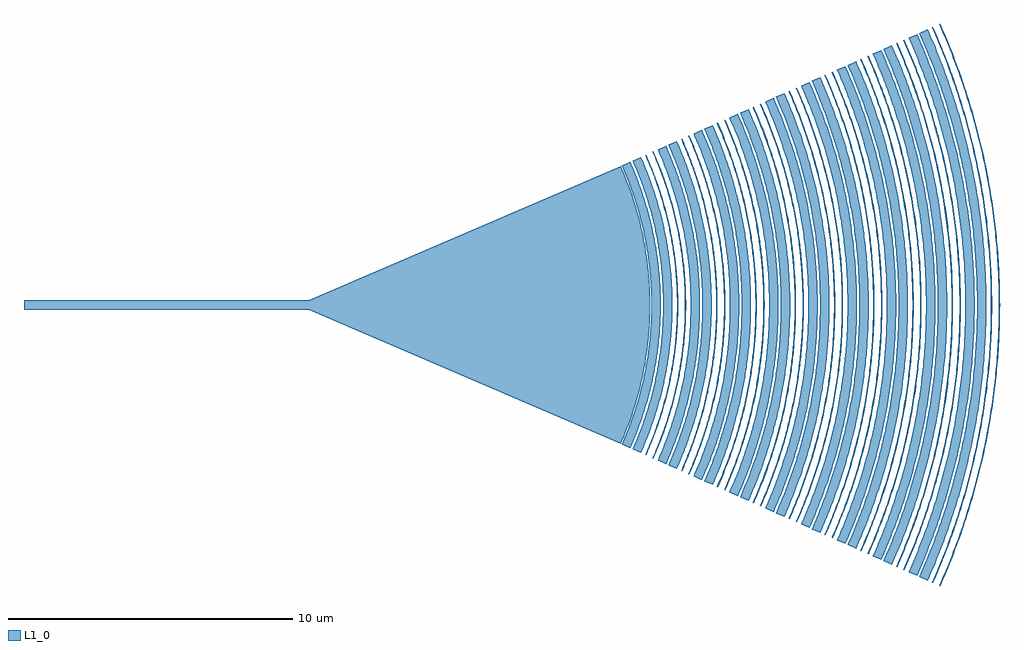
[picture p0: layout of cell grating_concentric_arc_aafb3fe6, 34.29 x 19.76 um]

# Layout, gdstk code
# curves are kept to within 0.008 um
import gdstk
lib = gdstk.Library(unit=1e-6, precision=2e-09)
def R(c, l, rs):  # rectangles x0, y0, x1, y1
    for r in rs: c.add(gdstk.rectangle(r[:2], r[2:], *l))
def P(c, l, *ps):  # polygons
    for p in ps: c.add(gdstk.Polygon(p, *l))
L1_0 = (1, 0)

straight_3aa2beef = lib.new_cell('straight_3aa2beef')
R(straight_3aa2beef, L1_0, [(0,-0.174,10,0.174)])

ring_470cada0_transform_ = lib.new_cell('ring_470cada0_transform_d14879e8')
P(ring_470cada0_transform_, L1_0, [(11.002,-4.898),(11.218,-4.382),(11.388,-3.922),(11.578,-3.32),(11.736,-2.71),(11.836,-2.23),(11.946,-1.538),(12.01,-0.91),(12.034,-0.49),(12.044,0.14),(12.01,0.91),(11.946,1.538),(11.81,2.366),(11.652,3.05),(11.476,3.656),(11.294,4.186),(11.002,4.898),(11.3,5.03),(11.574,4.366),(11.808,3.686),(12.002,2.992),(12.156,2.29),(12.268,1.578),(12.334,0.934),(12.368,0.216),(12.362,-0.432),(12.302,-1.292),(12.182,-2.148),(12.002,-2.992),(11.808,-3.686),(11.574,-4.366),(11.3,-5.03)])

ring_4765fa46_transform_ = lib.new_cell('ring_4765fa46_transform_a51c3178')
P(ring_4765fa46_transform_, L1_0, [(11.38,-5.066),(11.604,-4.532),(11.848,-3.85),(12.014,-3.294),(12.138,-2.802),(12.268,-2.164),(12.346,-1.662),(12.41,-1.086),(12.45,-0.434),(12.454,0.29),(12.422,0.942),(12.346,1.662),(12.242,2.306),(12.104,2.944),(11.892,3.712),(11.656,4.396),(11.38,5.066),(11.676,5.198),(11.96,4.512),(12.18,3.88),(12.366,3.236),(12.548,2.438),(12.678,1.632),(12.746,0.966),(12.78,0.224),(12.772,-0.52),(12.746,-0.966),(12.696,-1.484),(12.588,-2.22),(12.438,-2.948),(12.224,-3.738),(11.96,-4.512),(11.676,-5.198)])

ring_a5a4bc91_transform_ = lib.new_cell('ring_a5a4bc91_transform_08cd258c')
P(ring_a5a4bc91_transform_, L1_0, [(11.824,-5.264),(12.058,-4.708),(12.164,-4.428),(12.334,-3.928),(12.464,-3.496),(12.542,-3.204),(12.662,-2.692),(12.748,-2.248),(12.808,-1.876),(12.874,-1.354),(12.918,-0.828),(12.934,-0.526),(12.944,-0.15),(12.944,0.15),(12.934,0.526),(12.902,1.054),(12.874,1.354),(12.808,1.876),(12.748,2.248),(12.692,2.544),(12.596,2.986),(12.422,3.64),(12.264,4.142),(12.164,4.428),(12.002,4.848),(11.824,5.264),(11.862,5.282),(11.982,5.004),(12.122,4.654),(12.252,4.298),(12.372,3.94),(12.542,3.36),(12.652,2.92),(12.716,2.626),(12.774,2.328),(12.836,1.956),(12.888,1.582),(12.928,1.206),(12.958,0.83),(12.974,0.528),(12.984,0.152),(12.984,-0.152),(12.974,-0.528),(12.958,-0.83),(12.928,-1.206),(12.888,-1.582),(12.836,-1.956),(12.774,-2.328),(12.652,-2.92),(12.542,-3.36),(12.46,-3.652),(12.372,-3.94),(12.252,-4.298),(12.122,-4.654),(11.982,-5.004),(11.862,-5.282)])

ring_92b7a5c3_transform_ = lib.new_cell('ring_92b7a5c3_transform_87d6f1c0')
P(ring_92b7a5c3_transform_, L1_0, [(12.078,-5.378),(12.2,-5.094),(12.37,-4.666),(12.574,-4.086),(12.73,-3.57),(12.828,-3.198),(12.916,-2.824),(12.978,-2.522),(13.046,-2.144),(13.092,-1.84),(13.14,-1.458),(13.194,-0.846),(13.21,-0.538),(13.22,-0.154),(13.22,0.154),(13.21,0.538),(13.194,0.846),(13.164,1.228),(13.122,1.612),(13.07,1.992),(13.02,2.296),(12.948,2.674),(12.882,2.974),(12.79,3.348),(12.62,3.938),(12.45,4.45),(12.37,4.666),(12.2,5.094),(12.078,5.378),(12.114,5.394),(12.266,5.038),(12.408,4.68),(12.612,4.098),(12.726,3.73),(12.848,3.282),(12.938,2.908),(13.002,2.606),(13.098,2.074),(13.162,1.616),(13.196,1.31),(13.234,0.848),(13.25,0.54),(13.26,0.154),(13.26,-0.154),(13.25,-0.54),(13.234,-0.848),(13.196,-1.31),(13.162,-1.616),(13.098,-2.074),(13.046,-2.378),(12.938,-2.908),(12.848,-3.282),(12.726,-3.73),(12.538,-4.318),(12.324,-4.896),(12.146,-5.322),(12.114,-5.394)])

ring_aff80b13_transform_ = lib.new_cell('ring_aff80b13_transform_def36365')
P(ring_aff80b13_transform_, L1_0, [(12.262,-5.46),(12.474,-4.956),(12.742,-4.222),(12.966,-3.474),(13.096,-2.944),(13.176,-2.562),(13.292,-1.868),(13.372,-1.17),(13.412,-0.546),(13.422,0.156),(13.39,0.936),(13.292,1.868),(13.176,2.562),(12.986,3.398),(12.79,4.074),(12.558,4.738),(12.262,5.46),(12.56,5.592),(12.806,5.002),(13.1,4.172),(13.32,3.404),(13.48,2.702),(13.614,1.914),(13.696,1.198),(13.74,0.48),(13.74,-0.48),(13.696,-1.198),(13.646,-1.676),(13.566,-2.23),(13.396,-3.092),(13.216,-3.79),(12.946,-4.626),(12.806,-5.002),(12.56,-5.592)])

ring_44e4fcd2_transform_ = lib.new_cell('ring_44e4fcd2_transform_00812115')
P(ring_44e4fcd2_transform_, L1_0, [(12.64,-5.628),(12.888,-5.034),(13.134,-4.352),(13.322,-3.736),(13.516,-2.956),(13.626,-2.402),(13.742,-1.606),(13.802,-0.966),(13.83,-0.402),(13.83,0.402),(13.79,1.126),(13.712,1.846),(13.582,2.64),(13.424,3.348),(13.208,4.122),(12.974,4.808),(12.64,5.628),(12.936,5.76),(13.25,4.998),(13.518,4.218),(13.76,3.346),(13.916,2.622),(14.034,1.89),(14.114,1.152),(14.146,0.658),(14.16,0.164),(14.152,-0.494),(14.092,-1.398),(14.034,-1.89),(13.96,-2.378),(13.798,-3.186),(13.566,-4.062),(13.416,-4.532),(13.25,-4.998),(12.936,-5.76)])

ring_d8adb204_transform_ = lib.new_cell('ring_d8adb204_transform_c9774ad4')
P(ring_d8adb204_transform_, L1_0, [(13.084,-5.826),(13.342,-5.21),(13.488,-4.82),(13.596,-4.506),(13.768,-3.948),(13.856,-3.626),(14.01,-2.978),(14.12,-2.404),(14.184,-1.994),(14.236,-1.58),(14.294,-0.916),(14.314,-0.5),(14.322,-0.166),(14.322,0.166),(14.314,0.5),(14.276,1.166),(14.236,1.58),(14.184,1.994),(14.12,2.404),(14.044,2.814),(13.898,3.464),(13.768,3.948),(13.672,4.268),(13.57,4.584),(13.372,5.132),(13.28,5.366),(13.084,5.826),(13.12,5.842),(13.286,5.458),(13.408,5.148),(13.58,4.676),(13.686,4.358),(13.874,3.718),(13.976,3.312),(14.066,2.904),(14.13,2.576),(14.186,2.246),(14.246,1.834),(14.284,1.502),(14.334,0.918),(14.354,0.502),(14.362,0.168),(14.362,-0.168),(14.354,-0.502),(14.334,-0.918),(14.308,-1.252),(14.266,-1.668),(14.172,-2.33),(14.13,-2.576),(14.032,-3.068),(13.956,-3.394),(13.852,-3.798),(13.76,-4.12),(13.608,-4.596),(13.468,-4.99),(13.254,-5.534),(13.12,-5.842)])

ring_2e914d8e_transform_ = lib.new_cell('ring_2e914d8e_transform_935ca3b8')
P(ring_2e914d8e_transform_, L1_0, [(13.336,-5.938),(13.472,-5.626),(13.63,-5.232),(13.748,-4.914),(13.858,-4.592),(13.962,-4.268),(14.08,-3.86),(14.166,-3.532),(14.244,-3.202),(14.378,-2.536),(14.48,-1.864),(14.51,-1.61),(14.544,-1.272),(14.57,-0.934),(14.584,-0.68),(14.598,-0.17),(14.598,0.17),(14.584,0.68),(14.558,1.104),(14.528,1.442),(14.48,1.864),(14.42,2.284),(14.298,2.952),(14.166,3.532),(14.08,3.86),(13.962,4.268),(13.804,4.752),(13.69,5.072),(13.504,5.548),(13.336,5.938),(13.374,5.954),(13.476,5.72),(13.636,5.326),(13.786,4.926),(13.896,4.604),(14,4.28),(14.096,3.954),(14.184,3.624),(14.32,3.044),(14.446,2.374),(14.52,1.868),(14.568,1.446),(14.598,1.106),(14.624,0.682),(14.638,0.17),(14.638,-0.17),(14.624,-0.682),(14.604,-1.022),(14.55,-1.614),(14.52,-1.868),(14.446,-2.374),(14.37,-2.794),(14.302,-3.126),(14.184,-3.624),(14.096,-3.954),(14,-4.28),(13.842,-4.766),(13.636,-5.326),(13.476,-5.72),(13.374,-5.954)])

ring_7ea0d12c_transform_ = lib.new_cell('ring_7ea0d12c_transform_b127f23c')
P(ring_7ea0d12c_transform_, L1_0, [(13.522,-6.02),(13.818,-5.304),(14.05,-4.656),(14.252,-3.996),(14.46,-3.162),(14.606,-2.4),(14.68,-1.89),(14.752,-1.204),(14.798,-0.344),(14.798,0.344),(14.752,1.204),(14.72,1.548),(14.632,2.23),(14.496,2.994),(14.382,3.498),(14.252,3.996),(14.05,4.656),(13.818,5.304),(13.522,6.02),(13.818,6.152),(13.992,5.748),(14.184,5.256),(14.44,4.506),(14.656,3.744),(14.832,2.972),(14.954,2.28),(15.014,1.844),(15.076,1.23),(15.12,0.44),(15.12,-0.44),(15.076,-1.23),(15.014,-1.844),(14.954,-2.28),(14.778,-3.23),(14.634,-3.83),(14.516,-4.254),(14.386,-4.674),(14.184,-5.256),(13.992,-5.748),(13.818,-6.152)])

ring_5f7458fa_transform_ = lib.new_cell('ring_5f7458fa_transform_2b5a78b5')
P(ring_5f7458fa_transform_, L1_0, [(13.898,-6.188),(14.204,-5.452),(14.47,-4.702),(14.696,-3.938),(14.844,-3.336),(14.968,-2.728),(15.09,-1.942),(15.164,-1.238),(15.208,-0.442),(15.208,0.442),(15.164,1.238),(15.112,1.766),(15.054,2.204),(14.918,2.99),(14.696,3.938),(14.47,4.702),(14.204,5.452),(13.898,6.188),(14.196,6.32),(14.54,5.484),(14.834,4.63),(15.078,3.76),(15.254,2.964),(15.388,2.162),(15.488,1.264),(15.53,0.542),(15.54,0),(15.53,-0.542),(15.508,-0.994),(15.464,-1.534),(15.334,-2.52),(15.18,-3.32),(15.078,-3.76),(14.938,-4.284),(14.722,-4.974),(14.602,-5.314),(14.442,-5.738),(14.196,-6.32)])

ring_c25abaea_transform_ = lib.new_cell('ring_c25abaea_transform_a975f9f6')
P(ring_c25abaea_transform_, L1_0, [(14.344,-6.386),(14.626,-5.712),(14.876,-5.026),(15.016,-4.59),(15.118,-4.24),(15.256,-3.71),(15.358,-3.264),(15.43,-2.906),(15.494,-2.546),(15.536,-2.276),(15.616,-1.642),(15.65,-1.278),(15.68,-0.822),(15.692,-0.548),(15.702,0),(15.692,0.548),(15.68,0.822),(15.65,1.278),(15.616,1.642),(15.536,2.276),(15.494,2.546),(15.43,2.906),(15.358,3.264),(15.19,3.976),(15.016,4.59),(14.876,5.026),(14.69,5.542),(14.524,5.966),(14.344,6.386),(14.38,6.402),(14.526,6.066),(14.696,5.642),(14.854,5.212),(14.942,4.952),(15.054,4.602),(15.228,3.986),(15.296,3.72),(15.398,3.272),(15.47,2.914),(15.548,2.462),(15.646,1.736),(15.682,1.372),(15.72,0.824),(15.732,0.55),(15.742,0),(15.732,-0.55),(15.72,-0.824),(15.682,-1.372),(15.646,-1.736),(15.548,-2.462),(15.47,-2.914),(15.398,-3.272),(15.296,-3.72),(15.132,-4.338),(15.054,-4.602),(14.914,-5.038),(14.696,-5.642),(14.526,-6.066),(14.38,-6.402)])

ring_84f71b20_transform_ = lib.new_cell('ring_84f71b20_transform_91da354d')
P(ring_84f71b20_transform_, L1_0, [(14.596,-6.498),(14.78,-6.072),(14.95,-5.638),(15.108,-5.202),(15.196,-4.938),(15.28,-4.672),(15.434,-4.136),(15.526,-3.776),(15.648,-3.23),(15.702,-2.958),(15.796,-2.408),(15.87,-1.854),(15.9,-1.578),(15.932,-1.208),(15.956,-0.836),(15.974,-0.372),(15.978,-0.092),(15.974,0.372),(15.956,0.836),(15.932,1.208),(15.9,1.578),(15.87,1.854),(15.796,2.408),(15.702,2.958),(15.648,3.23),(15.526,3.776),(15.434,4.136),(15.28,4.672),(15.108,5.202),(14.95,5.638),(14.78,6.072),(14.596,6.498),(14.632,6.514),(14.852,6),(14.954,5.74),(15.084,5.39),(15.234,4.95),(15.372,4.504),(15.448,4.236),(15.608,3.604),(15.668,3.33),(15.724,3.056),(15.806,2.598),(15.862,2.23),(15.94,1.582),(15.996,0.838),(16.014,0.372),(16.018,-0.094),(16.014,-0.372),(15.996,-0.838),(15.972,-1.21),(15.91,-1.86),(15.862,-2.23),(15.806,-2.598),(15.706,-3.148),(15.608,-3.604),(15.496,-4.056),(15.398,-4.416),(15.234,-4.95),(15.084,-5.39),(14.92,-5.828),(14.708,-6.344),(14.632,-6.514)])

ring_bd555baa_transform_ = lib.new_cell('ring_bd555baa_transform_c54242bc')
P(ring_bd555baa_transform_, L1_0, [(14.78,-6.58),(14.93,-6.236),(15.172,-5.622),(15.388,-5),(15.604,-4.278),(15.786,-3.548),(15.934,-2.81),(16.06,-1.972),(16.134,-1.222),(16.176,-0.376),(16.17,0.564),(16.11,1.504),(16.022,2.252),(15.934,2.81),(15.846,3.272),(15.628,4.188),(15.388,5),(15.172,5.622),(14.93,6.236),(14.78,6.58),(15.078,6.714),(15.476,5.736),(15.756,4.918),(15.918,4.364),(16.038,3.9),(16.202,3.15),(16.358,2.202),(16.458,1.248),(16.498,0.48),(16.498,-0.48),(16.434,-1.534),(16.382,-2.012),(16.302,-2.582),(16.202,-3.15),(16.104,-3.62),(15.866,-4.55),(15.668,-5.192),(15.51,-5.644),(15.338,-6.094),(15.078,-6.714)])

ring_5217f0bf_transform_ = lib.new_cell('ring_5217f0bf_transform_5defcd2e')
P(ring_5217f0bf_transform_, L1_0, [(15.158,-6.748),(15.456,-6.036),(15.72,-5.31),(15.95,-4.574),(16.168,-3.732),(16.324,-2.976),(16.444,-2.214),(16.546,-1.254),(16.586,-0.482),(16.586,0.482),(16.546,1.254),(16.444,2.214),(16.288,3.166),(16.168,3.732),(16.052,4.202),(15.81,5.036),(15.456,6.036),(15.158,6.748),(15.456,6.882),(15.686,6.338),(15.864,5.878),(16.15,5.04),(16.416,4.092),(16.588,3.324),(16.724,2.55),(16.804,1.964),(16.854,1.474),(16.908,0.59),(16.914,-0.394),(16.854,-1.474),(16.78,-2.16),(16.71,-2.646),(16.528,-3.614),(16.316,-4.474),(16.15,-5.04),(15.898,-5.786),(15.686,-6.338),(15.456,-6.882)])

ring_3e654e33_transform_ = lib.new_cell('ring_3e654e33_transform_05bb91c2')
P(ring_3e654e33_transform_, L1_0, [(15.604,-6.946),(15.91,-6.214),(16.084,-5.748),(16.244,-5.278),(16.446,-4.612),(16.596,-4.036),(16.686,-3.648),(16.838,-2.868),(16.914,-2.378),(16.976,-1.884),(17.024,-1.39),(17.062,-0.794),(17.08,-0.1),(17.076,0.398),(17.062,0.794),(17.038,1.192),(17.006,1.588),(16.976,1.884),(16.9,2.476),(16.838,2.868),(16.766,3.258),(16.686,3.648),(16.596,4.036),(16.446,4.612),(16.334,4.994),(16.182,5.466),(16.016,5.934),(15.836,6.398),(15.604,6.946),(15.64,6.964),(15.798,6.598),(15.982,6.136),(16.122,5.762),(16.282,5.29),(16.372,5.006),(16.51,4.528),(16.612,4.142),(16.746,3.56),(16.806,3.266),(16.894,2.776),(16.954,2.382),(17.016,1.888),(17.078,1.194),(17.102,0.796),(17.116,0.398),(17.12,-0.1),(17.102,-0.796),(17.078,-1.194),(17.016,-1.888),(16.954,-2.382),(16.894,-2.776),(16.806,-3.266),(16.704,-3.754),(16.612,-4.142),(16.484,-4.624),(16.372,-5.006),(16.22,-5.48),(16.018,-6.042),(15.798,-6.598),(15.64,-6.964)])

ring_5456c50c_transform_ = lib.new_cell('ring_5456c50c_transform_71f964e6')
P(ring_5456c50c_transform_, L1_0, [(15.856,-7.06),(16.016,-6.688),(16.204,-6.22),(16.344,-5.842),(16.476,-5.46),(16.598,-5.074),(16.712,-4.686),(16.816,-4.296),(16.956,-3.708),(17.038,-3.312),(17.142,-2.716),(17.188,-2.416),(17.262,-1.814),(17.314,-1.21),(17.338,-0.808),(17.356,-0.1),(17.352,0.404),(17.338,0.808),(17.314,1.21),(17.272,1.714),(17.214,2.216),(17.158,2.616),(17.11,2.914),(16.998,3.51),(16.912,3.904),(16.816,4.296),(16.684,4.784),(16.538,5.268),(16.444,5.556),(16.24,6.126),(16.054,6.596),(15.856,7.06),(15.892,7.076),(16.014,6.798),(16.168,6.422),(16.348,5.95),(16.514,5.472),(16.666,4.99),(16.804,4.502),(16.928,4.012),(17.016,3.616),(17.096,3.22),(17.198,2.622),(17.254,2.22),(17.312,1.718),(17.354,1.214),(17.378,0.81),(17.394,0.304),(17.396,-0.102),(17.378,-0.81),(17.338,-1.416),(17.29,-1.92),(17.226,-2.422),(17.15,-2.922),(17.096,-3.22),(16.994,-3.716),(16.88,-4.208),(16.75,-4.698),(16.666,-4.99),(16.482,-5.568),(16.276,-6.14),(16.014,-6.798),(15.892,-7.076)])

ring_ea817882_transform_ = lib.new_cell('ring_ea817882_transform_41878c8b')
P(ring_ea817882_transform_, L1_0, [(16.04,-7.142),(16.356,-6.388),(16.602,-5.716),(16.85,-4.938),(17.108,-3.95),(17.274,-3.15),(17.428,-2.14),(17.516,-1.224),(17.554,-0.408),(17.548,0.612),(17.492,1.53),(17.388,2.444),(17.292,3.048),(17.196,3.55),(16.986,4.446),(16.73,5.328),(16.534,5.91),(16.356,6.388),(16.04,7.142),(16.338,7.274),(16.696,6.408),(17.04,5.428),(17.274,4.628),(17.402,4.124),(17.514,3.616),(17.68,2.694),(17.738,2.282),(17.816,1.558),(17.854,1.04),(17.876,0.52),(17.876,-0.52),(17.854,-1.04),(17.816,-1.558),(17.738,-2.282),(17.68,-2.694),(17.594,-3.208),(17.448,-3.922),(17.218,-4.83),(17.072,-5.328),(16.84,-6.018),(16.582,-6.7),(16.338,-7.274)])

ring_7313c4e4_transform_ = lib.new_cell('ring_7313c4e4_transform_d605e5fc')
P(ring_7313c4e4_transform_, L1_0, [(16.418,-7.31),(16.778,-6.44),(17.092,-5.554),(17.332,-4.752),(17.534,-3.94),(17.716,-3.018),(17.838,-2.19),(17.928,-1.254),(17.964,-0.522),(17.964,0.522),(17.928,1.254),(17.894,1.67),(17.782,2.604),(17.6,3.634),(17.386,4.55),(17.092,5.554),(16.778,6.44),(16.418,7.31),(16.714,7.442),(16.884,7.05),(17.118,6.458),(17.434,5.552),(17.7,4.632),(17.804,4.22),(17.94,3.596),(18.104,2.652),(18.16,2.23),(18.236,1.488),(18.286,0.638),(18.292,-0.426),(18.272,-0.958),(18.236,-1.488),(18.16,-2.23),(18.104,-2.652),(17.94,-3.596),(17.804,-4.22),(17.672,-4.736),(17.466,-5.45),(17.264,-6.058),(17.004,-6.756),(16.714,-7.442)])

ring_cde9bd4d_transform_ = lib.new_cell('ring_cde9bd4d_transform_01ae3e1e')
P(ring_cde9bd4d_transform_, L1_0, [(16.862,-7.508),(17.074,-7.014),(17.194,-6.714),(17.346,-6.314),(17.522,-5.806),(17.652,-5.396),(17.802,-4.88),(17.884,-4.57),(18.01,-4.048),(18.12,-3.522),(18.178,-3.206),(18.264,-2.676),(18.334,-2.142),(18.398,-1.502),(18.428,-1.074),(18.448,-0.644),(18.458,-0.214),(18.458,0.214),(18.448,0.644),(18.428,1.074),(18.398,1.502),(18.358,1.93),(18.294,2.462),(18.232,2.888),(18.12,3.522),(18.01,4.048),(17.936,4.362),(17.802,4.88),(17.652,5.396),(17.522,5.806),(17.346,6.314),(17.074,7.014),(16.862,7.508),(16.9,7.524),(17.152,6.93),(17.27,6.63),(17.456,6.124),(17.626,5.614),(17.722,5.306),(17.896,4.684),(18,4.266),(18.138,3.636),(18.218,3.212),(18.288,2.788),(18.374,2.148),(18.418,1.72),(18.454,1.29),(18.488,0.646),(18.498,0.216),(18.498,-0.216),(18.488,-0.646),(18.454,-1.29),(18.418,-1.72),(18.374,-2.148),(18.288,-2.788),(18.254,-3),(18.138,-3.636),(18.072,-3.952),(17.948,-4.476),(17.812,-4.996),(17.722,-5.306),(17.526,-5.92),(17.42,-6.226),(17.27,-6.63),(17.07,-7.128),(16.9,-7.524)])

ring_4b817f02_transform_ = lib.new_cell('ring_4b817f02_transform_23eca238')
P(ring_4b817f02_transform_, L1_0, [(17.114,-7.62),(17.33,-7.12),(17.53,-6.612),(17.714,-6.1),(17.852,-5.686),(17.948,-5.374),(18.124,-4.744),(18.23,-4.32),(18.326,-3.896),(18.45,-3.254),(18.52,-2.824),(18.596,-2.284),(18.644,-1.85),(18.69,-1.306),(18.72,-0.762),(18.734,-0.218),(18.734,0.218),(18.72,0.762),(18.69,1.306),(18.644,1.85),(18.596,2.284),(18.52,2.824),(18.45,3.254),(18.37,3.682),(18.23,4.32),(18.152,4.638),(18.038,5.06),(17.852,5.686),(17.714,6.1),(17.53,6.612),(17.33,7.12),(17.114,7.62),(17.152,7.636),(17.408,7.034),(17.528,6.728),(17.716,6.216),(17.89,5.698),(18.048,5.176),(18.134,4.86),(18.244,4.436),(18.364,3.904),(18.45,3.476),(18.544,2.938),(18.622,2.396),(18.694,1.746),(18.722,1.418),(18.76,0.764),(18.774,0.218),(18.774,-0.218),(18.76,-0.764),(18.736,-1.2),(18.704,-1.636),(18.648,-2.18),(18.544,-2.938),(18.45,-3.476),(18.342,-4.01),(18.218,-4.542),(18.078,-5.07),(17.89,-5.698),(17.788,-6.01),(17.528,-6.728),(17.324,-7.236),(17.152,-7.636)])

ring_83ac2efb_transform_ = lib.new_cell('ring_83ac2efb_transform_be58b5be')
P(ring_83ac2efb_transform_, L1_0, [(17.3,-7.702),(17.64,-6.89),(17.906,-6.166),(18.204,-5.22),(18.452,-4.26),(18.65,-3.288),(18.796,-2.308),(18.898,-1.212),(18.932,-0.44),(18.932,0.44),(18.898,1.212),(18.834,1.98),(18.704,2.962),(18.61,3.506),(18.452,4.26),(18.292,4.902),(18.142,5.432),(17.906,6.166),(17.718,6.684),(17.3,7.702),(17.596,7.834),(17.818,7.32),(18.062,6.694),(18.388,5.738),(18.69,4.66),(18.794,4.224),(18.93,3.566),(19.09,2.57),(19.198,1.568),(19.254,0.56),(19.254,-0.56),(19.23,-1.12),(19.168,-1.902),(19.042,-2.902),(18.95,-3.456),(18.842,-4.004),(18.606,-4.986),(18.388,-5.738),(18.176,-6.376),(17.902,-7.112),(17.596,-7.834)])

ring_fe3af841_transform_ = lib.new_cell('ring_fe3af841_transform_4dafe869')
P(ring_fe3af841_transform_, L1_0, [(17.676,-7.87),(18.024,-7.04),(18.368,-6.086),(18.504,-5.658),(18.72,-4.9),(18.904,-4.134),(19.094,-3.138),(19.206,-2.358),(19.286,-1.574),(19.342,-0.562),(19.348,0.226),(19.31,1.238),(19.232,2.134),(19.112,3.026),(19.016,3.582),(18.854,4.352),(18.72,4.9),(18.504,5.658),(18.332,6.194),(18.144,6.724),(17.856,7.456),(17.676,7.87),(17.974,8.002),(18.368,7.05),(18.566,6.514),(18.782,5.862),(19.034,4.982),(19.292,3.866),(19.396,3.304),(19.484,2.738),(19.61,1.6),(19.654,0.916),(19.67,0.458),(19.67,-0.458),(19.654,-0.916),(19.61,-1.6),(19.542,-2.284),(19.468,-2.852),(19.292,-3.866),(19.034,-4.982),(18.816,-5.752),(18.566,-6.514),(18.242,-7.37),(17.974,-8.002)])

ring_c006a4c7_transform_ = lib.new_cell('ring_c006a4c7_transform_c0675b6b')
P(ring_c006a4c7_transform_, L1_0, [(18.122,-8.068),(18.436,-7.324),(18.68,-6.676),(18.794,-6.35),(19.004,-5.69),(19.1,-5.356),(19.22,-4.91),(19.38,-4.238),(19.472,-3.786),(19.556,-3.33),(19.66,-2.646),(19.716,-2.188),(19.772,-1.614),(19.804,-1.154),(19.832,-0.462),(19.836,-0.23),(19.832,0.462),(19.816,0.922),(19.772,1.614),(19.74,1.958),(19.688,2.418),(19.628,2.874),(19.516,3.558),(19.428,4.012),(19.38,4.238),(19.22,4.91),(19.068,5.468),(18.902,6.02),(18.718,6.568),(18.52,7.108),(18.392,7.432),(18.122,8.068),(18.158,8.084),(18.386,7.554),(18.598,7.016),(18.794,6.472),(18.94,6.032),(19.074,5.59),(19.23,5.032),(19.368,4.472),(19.49,3.906),(19.614,3.224),(19.684,2.766),(19.756,2.192),(19.802,1.732),(19.856,0.924),(19.876,0.232),(19.876,-0.232),(19.86,-0.81),(19.844,-1.156),(19.802,-1.732),(19.756,-2.192),(19.7,-2.652),(19.614,-3.224),(19.534,-3.68),(19.394,-4.358),(19.342,-4.584),(19.17,-5.256),(19.008,-5.812),(18.832,-6.362),(18.598,-7.016),(18.342,-7.66),(18.158,-8.084)])

ring_a96358ad_transform_ = lib.new_cell('ring_a96358ad_transform_487576aa')
P(ring_a96358ad_transform_, L1_0, [(18.374,-8.18),(18.56,-7.752),(18.736,-7.318),(18.9,-6.88),(19.056,-6.438),(19.2,-5.992),(19.398,-5.318),(19.488,-4.98),(19.65,-4.296),(19.744,-3.838),(19.848,-3.262),(19.934,-2.684),(20.004,-2.102),(20.056,-1.52),(20.08,-1.17),(20.102,-0.702),(20.114,0),(20.102,0.702),(20.08,1.17),(20.056,1.52),(20.004,2.102),(19.934,2.684),(19.848,3.262),(19.788,3.608),(19.698,4.068),(19.572,4.638),(19.488,4.98),(19.366,5.432),(19.2,5.992),(18.98,6.658),(18.778,7.208),(18.56,7.752),(18.374,8.18),(18.41,8.198),(18.552,7.874),(18.73,7.44),(18.898,7.002),(19.094,6.45),(19.238,6.004),(19.436,5.33),(19.526,4.99),(19.688,4.304),(19.784,3.846),(19.868,3.384),(19.958,2.804),(20.018,2.34),(20.066,1.874),(20.12,1.172),(20.142,0.704),(20.154,0),(20.142,-0.704),(20.12,-1.172),(20.066,-1.874),(20.018,-2.34),(19.958,-2.804),(19.868,-3.384),(19.784,-3.846),(19.688,-4.304),(19.61,-4.648),(19.436,-5.33),(19.238,-6.004),(19.094,-6.45),(18.898,-7.002),(18.642,-7.658),(18.41,-8.198)])

ring_0fb8dc92_transform_ = lib.new_cell('ring_0fb8dc92_transform_aa9b81a4')
P(ring_0fb8dc92_transform_, L1_0, [(18.56,-8.264),(18.924,-7.39),(19.322,-6.278),(19.624,-5.258),(19.846,-4.34),(19.986,-3.644),(20.15,-2.594),(20.258,-1.536),(20.31,-0.472),(20.31,0.472),(20.274,1.3),(20.192,2.242),(20.066,3.178),(19.986,3.644),(19.846,4.34),(19.654,5.144),(19.496,5.714),(19.322,6.278),(19.05,7.06),(18.792,7.72),(18.56,8.264),(18.856,8.396),(19.27,7.396),(19.668,6.264),(19.938,5.342),(20.19,4.292),(20.368,3.348),(20.472,2.634),(20.552,1.918),(20.624,0.84),(20.64,0.24),(20.638,-0.36),(20.624,-0.84),(20.582,-1.56),(20.528,-2.158),(20.44,-2.872),(20.262,-3.938),(20.112,-4.644),(19.938,-5.342),(19.704,-6.15),(19.396,-7.06),(19.138,-7.732),(18.856,-8.396)])

ring_a890b585_transform_ = lib.new_cell('ring_a890b585_transform_71684368')
P(ring_a890b585_transform_, L1_0, [(18.936,-8.43),(19.352,-7.428),(19.714,-6.406),(19.99,-5.482),(20.224,-4.546),(20.414,-3.6),(20.574,-2.526),(20.678,-1.446),(20.726,-0.362),(20.72,0.602),(20.678,1.446),(20.574,2.526),(20.454,3.362),(20.348,3.956),(20.17,4.78),(20.022,5.364),(19.858,5.944),(19.714,6.406),(19.478,7.09),(19.174,7.876),(18.936,8.43),(19.234,8.564),(19.656,7.544),(19.826,7.086),(20.06,6.39),(20.368,5.33),(20.594,4.378),(20.734,3.656),(20.832,3.052),(20.912,2.444),(20.974,1.834),(21.018,1.224),(21.048,0.49),(21.048,-0.49),(21.018,-1.224),(20.974,-1.834),(20.912,-2.444),(20.832,-3.052),(20.734,-3.656),(20.594,-4.378),(20.368,-5.33),(20.134,-6.156),(19.826,-7.086),(19.566,-7.774),(19.234,-8.564)])

ring_61e8e8cf_transform_ = lib.new_cell('ring_61e8e8cf_transform_33c25d0d')
P(ring_61e8e8cf_transform_, L1_0, [(19.382,-8.63),(19.624,-8.062),(19.762,-7.718),(20.02,-7.024),(20.178,-6.556),(20.428,-5.73),(20.586,-5.132),(20.726,-4.532),(20.872,-3.806),(20.974,-3.196),(21.058,-2.586),(21.1,-2.218),(21.146,-1.726),(21.18,-1.234),(21.206,-0.618),(21.216,-0.124),(21.21,0.494),(21.18,1.234),(21.146,1.726),(21.1,2.218),(21.058,2.586),(20.974,3.196),(20.894,3.684),(20.778,4.29),(20.7,4.652),(20.556,5.252),(20.428,5.73),(20.252,6.32),(20.06,6.908),(19.894,7.372),(19.624,8.062),(19.382,8.63),(19.418,8.646),(19.614,8.192),(19.844,7.618),(20.016,7.154),(20.216,6.568),(20.398,5.978),(20.532,5.502),(20.654,5.022),(20.816,4.298),(20.888,3.934),(20.994,3.326),(21.066,2.836),(21.14,2.222),(21.184,1.73),(21.22,1.236),(21.25,0.494),(21.256,-0.124),(21.238,-0.866),(21.22,-1.236),(21.164,-1.976),(21.112,-2.468),(21.032,-3.08),(20.954,-3.57),(20.84,-4.178),(20.738,-4.66),(20.594,-5.262),(20.466,-5.74),(20.29,-6.332),(20.138,-6.804),(19.888,-7.502),(19.614,-8.192),(19.418,-8.646)])

ring_a2c196e3_transform_ = lib.new_cell('ring_a2c196e3_transform_b53a7962')
P(ring_a2c196e3_transform_, L1_0, [(19.634,-8.742),(19.784,-8.398),(20.02,-7.818),(20.238,-7.234),(20.44,-6.642),(20.66,-5.924),(20.76,-5.562),(20.884,-5.078),(20.996,-4.59),(21.098,-4.1),(21.228,-3.362),(21.3,-2.868),(21.374,-2.246),(21.41,-1.874),(21.456,-1.25),(21.474,-0.876),(21.492,-0.126),(21.486,0.5),(21.456,1.25),(21.41,1.874),(21.374,2.246),(21.3,2.868),(21.228,3.362),(21.144,3.856),(21.048,4.346),(20.942,4.834),(20.792,5.442),(20.66,5.924),(20.516,6.404),(20.28,7.116),(20.108,7.586),(19.88,8.166),(19.634,8.742),(19.67,8.758),(19.82,8.414),(20.102,7.716),(20.318,7.128),(20.478,6.654),(20.592,6.296),(20.766,5.694),(20.952,4.966),(21.088,4.354),(21.16,3.986),(21.286,3.244),(21.372,2.624),(21.414,2.25),(21.45,1.876),(21.496,1.252),(21.526,0.502),(21.532,-0.126),(21.514,-0.876),(21.488,-1.378),(21.45,-1.876),(21.372,-2.624),(21.286,-3.244),(21.226,-3.616),(21.088,-4.354),(21.008,-4.722),(20.892,-5.21),(20.766,-5.694),(20.592,-6.296),(20.4,-6.892),(20.234,-7.364),(20.102,-7.716),(19.82,-8.414),(19.67,-8.758)])

ring_7f9bad82_transform_ = lib.new_cell('ring_7f9bad82_transform_fd0fc6c3')
P(ring_7f9bad82_transform_, L1_0, [(19.818,-8.824),(20.254,-7.774),(20.632,-6.704),(20.922,-5.736),(21.194,-4.634),(21.386,-3.642),(21.548,-2.518),(21.642,-1.514),(21.688,-0.504),(21.688,0.504),(21.642,1.514),(21.548,2.518),(21.386,3.642),(21.296,4.14),(21.11,5.002),(20.922,5.736),(20.746,6.342),(20.512,7.062),(20.254,7.774),(19.818,8.824),(20.116,8.956),(20.368,8.368),(20.648,7.652),(21.02,6.56),(21.334,5.452),(21.59,4.328),(21.768,3.318),(21.87,2.556),(21.936,1.92),(22.006,0.768),(22.02,0),(22.014,-0.512),(21.982,-1.28),(21.936,-1.92),(21.822,-2.938),(21.728,-3.572),(21.59,-4.328),(21.484,-4.828),(21.302,-5.576),(21.02,-6.56),(20.778,-7.29),(20.464,-8.13),(20.116,-8.956)])

ring_9a1d5f5d_transform_ = lib.new_cell('ring_9a1d5f5d_transform_ef981a59')
P(ring_9a1d5f5d_transform_, L1_0, [(20.196,-8.992),(20.592,-8.042),(20.818,-7.44),(21.024,-6.832),(21.354,-5.722),(21.624,-4.596),(21.814,-3.586),(21.958,-2.566),(22.062,-1.414),(22.104,-0.386),(22.098,0.642),(22.044,1.67),(21.958,2.566),(21.814,3.586),(21.676,4.344),(21.54,4.972),(21.354,5.722),(21.178,6.34),(20.944,7.076),(20.73,7.682),(20.498,8.282),(20.196,8.992),(20.492,9.124),(20.75,8.524),(20.942,8.038),(21.21,7.304),(21.414,6.684),(21.734,5.554),(21.858,5.046),(22.02,4.28),(22.114,3.766),(22.232,2.992),(22.358,1.826),(22.402,1.174),(22.426,0.522),(22.426,-0.522),(22.402,-1.174),(22.358,-1.826),(22.296,-2.474),(22.196,-3.252),(22.092,-3.896),(21.942,-4.664),(21.702,-5.68),(21.414,-6.684),(21.124,-7.55),(20.848,-8.282),(20.492,-9.124)])

ring_20381260_transform_ = lib.new_cell('ring_20381260_transform_a6979f99')
P(ring_20381260_transform_, L1_0, [(20.64,-9.19),(20.9,-8.586),(21.046,-8.22),(21.232,-7.728),(21.448,-7.106),(21.568,-6.732),(21.79,-5.974),(21.954,-5.338),(22.1,-4.698),(22.204,-4.182),(22.274,-3.794),(22.356,-3.274),(22.442,-2.624),(22.52,-1.838),(22.556,-1.314),(22.576,-0.92),(22.594,-0.132),(22.588,0.526),(22.564,1.182),(22.53,1.708),(22.484,2.23),(22.442,2.624),(22.356,3.274),(22.274,3.794),(22.128,4.568),(22.044,4.954),(21.858,5.72),(21.682,6.354),(21.568,6.732),(21.364,7.356),(21.094,8.096),(20.9,8.586),(20.64,9.19),(20.678,9.206),(20.886,8.722),(21.084,8.234),(21.27,7.742),(21.486,7.12),(21.646,6.618),(21.794,6.112),(21.994,5.348),(22.14,4.706),(22.242,4.19),(22.356,3.54),(22.466,2.758),(22.524,2.234),(22.57,1.71),(22.604,1.184),(22.628,0.526),(22.634,-0.132),(22.628,-0.526),(22.604,-1.184),(22.57,-1.71),(22.496,-2.496),(22.432,-3.02),(22.356,-3.54),(22.218,-4.318),(22.084,-4.964),(21.93,-5.604),(21.794,-6.112),(21.646,-6.618),(21.444,-7.244),(21.178,-7.988),(20.886,-8.722),(20.678,-9.206)])

ring_e5f71da3_transform_ = lib.new_cell('ring_e5f71da3_transform_2934a16f')
P(ring_e5f71da3_transform_, L1_0, [(20.894,-9.302),(21.206,-8.568),(21.352,-8.196),(21.492,-7.822),(21.752,-7.068),(21.948,-6.432),(22.092,-5.92),(22.192,-5.532),(22.314,-5.016),(22.476,-4.234),(22.546,-3.84),(22.648,-3.182),(22.716,-2.656),(22.784,-1.994),(22.824,-1.462),(22.852,-0.932),(22.87,-0.134),(22.864,0.532),(22.84,1.196),(22.806,1.728),(22.746,2.39),(22.684,2.92),(22.61,3.446),(22.5,4.102),(22.398,4.624),(22.254,5.274),(22.126,5.79),(21.948,6.432),(21.832,6.814),(21.668,7.32),(21.446,7.948),(21.206,8.568),(20.894,9.302),(20.93,9.318),(21.192,8.706),(21.436,8.086),(21.574,7.71),(21.79,7.08),(21.986,6.442),(22.13,5.93),(22.324,5.154),(22.438,4.632),(22.586,3.848),(22.688,3.188),(22.756,2.66),(22.812,2.13),(22.864,1.466),(22.892,0.932),(22.904,0.534),(22.91,-0.134),(22.892,-0.932),(22.864,-1.466),(22.812,-2.13),(22.756,-2.66),(22.688,-3.188),(22.586,-3.848),(22.49,-4.372),(22.382,-4.894),(22.198,-5.672),(22.06,-6.186),(21.91,-6.698),(21.706,-7.332),(21.436,-8.086),(21.192,-8.706),(20.93,-9.318)])

ring_7ab5a306_transform_ = lib.new_cell('ring_7ab5a306_transform_34b644b3')
P(ring_7ab5a306_transform_, L1_0, [(21.078,-9.384),(21.492,-8.394),(21.682,-7.892),(21.902,-7.258),(22.252,-6.102),(22.512,-5.06),(22.674,-4.27),(22.768,-3.742),(22.932,-2.546),(23.026,-1.476),(23.07,-0.402),(23.07,0.402),(23.026,1.476),(22.932,2.546),(22.768,3.742),(22.596,4.666),(22.482,5.19),(22.252,6.102),(22.104,6.618),(21.902,7.258),(21.682,7.892),(21.342,8.768),(21.078,9.384),(21.374,9.516),(21.694,8.764),(21.892,8.258),(22.078,7.746),(22.336,6.97),(22.492,6.45),(22.67,5.792),(22.942,4.598),(23.066,3.928),(23.17,3.256),(23.27,2.446),(23.32,1.904),(23.384,0.816),(23.398,0.136),(23.392,-0.544),(23.366,-1.224),(23.32,-1.904),(23.27,-2.446),(23.17,-3.256),(23.066,-3.928),(22.942,-4.598),(22.798,-5.264),(22.636,-5.924),(22.376,-6.84),(22.078,-7.746),(21.794,-8.512),(21.43,-9.392),(21.374,-9.516)])

ring_32f324b6_transform_ = lib.new_cell('ring_32f324b6_transform_94609d98')
P(ring_32f324b6_transform_, L1_0, [(21.454,-9.552),(21.672,-9.05),(21.926,-8.416),(22.294,-7.388),(22.576,-6.474),(22.884,-5.284),(23.08,-4.348),(23.218,-3.538),(23.294,-2.998),(23.408,-1.91),(23.454,-1.23),(23.48,-0.546),(23.48,0.546),(23.438,1.502),(23.342,2.59),(23.276,3.134),(23.152,3.944),(23.028,4.616),(22.884,5.284),(22.686,6.078),(22.46,6.866),(22.294,7.388),(22.07,8.032),(21.776,8.798),(21.454,9.552),(21.752,9.684),(21.972,9.176),(22.23,8.532),(22.514,7.752),(22.73,7.094),(22.926,6.43),(23.104,5.76),(23.232,5.222),(23.374,4.544),(23.496,3.862),(23.598,3.176),(23.666,2.626),(23.732,1.938),(23.778,1.246),(23.804,0.554),(23.804,-0.554),(23.778,-1.246),(23.732,-1.938),(23.666,-2.626),(23.598,-3.176),(23.496,-3.862),(23.374,-4.544),(23.232,-5.222),(23.07,-5.894),(22.85,-6.696),(22.514,-7.752),(22.18,-8.662),(21.808,-9.558),(21.752,-9.684)])

ring_6ba9067e_transform_ = lib.new_cell('ring_6ba9067e_transform_ecbb3de4')
P(ring_6ba9067e_transform_, L1_0, [(21.9,-9.75),(22.122,-9.238),(22.38,-8.592),(22.574,-8.068),(22.8,-7.408),(22.966,-6.876),(23.12,-6.34),(23.294,-5.664),(23.42,-5.12),(23.506,-4.712),(23.656,-3.888),(23.74,-3.336),(23.842,-2.506),(23.894,-1.95),(23.94,-1.254),(23.962,-0.698),(23.972,-0.14),(23.966,0.558),(23.94,1.254),(23.894,1.95),(23.856,2.368),(23.794,2.922),(23.72,3.474),(23.656,3.888),(23.506,4.712),(23.39,5.256),(23.192,6.07),(23.12,6.34),(22.926,7.008),(22.712,7.672),(22.43,8.46),(22.228,8.98),(21.9,9.75),(21.936,9.766),(22.158,9.254),(22.418,8.606),(22.612,8.082),(22.838,7.42),(22.964,7.02),(23.158,6.35),(23.3,5.81),(23.398,5.402),(23.488,4.992),(23.624,4.308),(23.76,3.48),(23.834,2.926),(23.882,2.51),(23.934,1.954),(23.98,1.256),(24.006,0.558),(24.012,-0.14),(23.998,-0.838),(23.98,-1.256),(23.934,-1.954),(23.882,-2.51),(23.834,-2.926),(23.76,-3.48),(23.672,-4.032),(23.572,-4.582),(23.458,-5.13),(23.3,-5.81),(23.158,-6.35),(22.964,-7.02),(22.75,-7.686),(22.468,-8.474),(22.212,-9.124),(21.936,-9.766)])

ring_b8407e1b_transform_ = lib.new_cell('ring_b8407e1b_transform_16c95189')
P(ring_b8407e1b_transform_, L1_0, [(22.152,-9.862),(22.322,-9.474),(22.588,-8.822),(22.882,-8.028),(23.106,-7.36),(23.27,-6.82),(23.386,-6.412),(23.596,-5.592),(23.72,-5.042),(23.856,-4.35),(23.928,-3.932),(24.014,-3.374),(24.102,-2.674),(24.18,-1.832),(24.216,-1.27),(24.246,-0.424),(24.25,0),(24.246,0.424),(24.216,1.27),(24.18,1.832),(24.102,2.674),(24.014,3.374),(23.928,3.932),(23.856,4.35),(23.72,5.042),(23.596,5.592),(23.386,6.412),(23.27,6.82),(23.106,7.36),(22.882,8.028),(22.588,8.822),(22.322,9.474),(22.152,9.862),(22.19,9.88),(22.468,9.23),(22.676,8.704),(22.92,8.042),(23.144,7.372),(23.348,6.694),(23.498,6.15),(23.634,5.602),(23.788,4.912),(23.896,4.356),(24.012,3.66),(24.108,2.96),(24.156,2.538),(24.22,1.836),(24.256,1.272),(24.286,0.424),(24.29,0),(24.286,-0.424),(24.256,-1.272),(24.22,-1.836),(24.156,-2.538),(24.108,-2.96),(24.012,-3.66),(23.896,-4.356),(23.788,-4.912),(23.602,-5.738),(23.462,-6.286),(23.228,-7.102),(23.012,-7.774),(22.776,-8.44),(22.468,-9.23),(22.19,-9.88)])

grating_concentric_arc_a = lib.new_cell('grating_concentric_arc_aafb3fe6')
P(grating_concentric_arc_a, L1_0, [(0,0.174),(0,-0.174),(10.962,-4.882),(11.006,-4.786),(11.24,-4.202),(11.476,-3.508),(11.644,-2.902),(11.78,-2.29),(11.868,-1.774),(11.954,-1.046),(11.99,-0.524),(12,0.104),(11.99,0.524),(11.934,1.254),(11.836,1.98),(11.738,2.496),(11.564,3.206),(11.38,3.808),(11.126,4.496),(10.962,4.882)])
grating_concentric_arc_a.add(gdstk.Reference(straight_3aa2beef, (-10,0)))
grating_concentric_arc_a.add(gdstk.Reference(ring_470cada0_transform_, (0,0)))
grating_concentric_arc_a.add(gdstk.Reference(ring_4765fa46_transform_, (0,0)))
grating_concentric_arc_a.add(gdstk.Reference(ring_a5a4bc91_transform_, (0,0)))
grating_concentric_arc_a.add(gdstk.Reference(ring_92b7a5c3_transform_, (0,0)))
grating_concentric_arc_a.add(gdstk.Reference(ring_aff80b13_transform_, (0,0)))
grating_concentric_arc_a.add(gdstk.Reference(ring_44e4fcd2_transform_, (0,0)))
grating_concentric_arc_a.add(gdstk.Reference(ring_d8adb204_transform_, (0,0)))
grating_concentric_arc_a.add(gdstk.Reference(ring_2e914d8e_transform_, (0,0)))
grating_concentric_arc_a.add(gdstk.Reference(ring_7ea0d12c_transform_, (0,0)))
grating_concentric_arc_a.add(gdstk.Reference(ring_5f7458fa_transform_, (0,0)))
grating_concentric_arc_a.add(gdstk.Reference(ring_c25abaea_transform_, (0,0)))
grating_concentric_arc_a.add(gdstk.Reference(ring_84f71b20_transform_, (0,0)))
grating_concentric_arc_a.add(gdstk.Reference(ring_bd555baa_transform_, (0,0)))
grating_concentric_arc_a.add(gdstk.Reference(ring_5217f0bf_transform_, (0,0)))
grating_concentric_arc_a.add(gdstk.Reference(ring_3e654e33_transform_, (0,0)))
grating_concentric_arc_a.add(gdstk.Reference(ring_5456c50c_transform_, (0,0)))
grating_concentric_arc_a.add(gdstk.Reference(ring_ea817882_transform_, (0,0)))
grating_concentric_arc_a.add(gdstk.Reference(ring_7313c4e4_transform_, (0,0)))
grating_concentric_arc_a.add(gdstk.Reference(ring_cde9bd4d_transform_, (0,0)))
grating_concentric_arc_a.add(gdstk.Reference(ring_4b817f02_transform_, (0,0)))
grating_concentric_arc_a.add(gdstk.Reference(ring_83ac2efb_transform_, (0,0)))
grating_concentric_arc_a.add(gdstk.Reference(ring_fe3af841_transform_, (0,0)))
grating_concentric_arc_a.add(gdstk.Reference(ring_c006a4c7_transform_, (0,0)))
grating_concentric_arc_a.add(gdstk.Reference(ring_a96358ad_transform_, (0,0)))
grating_concentric_arc_a.add(gdstk.Reference(ring_0fb8dc92_transform_, (0,0)))
grating_concentric_arc_a.add(gdstk.Reference(ring_a890b585_transform_, (0,0)))
grating_concentric_arc_a.add(gdstk.Reference(ring_61e8e8cf_transform_, (0,0)))
grating_concentric_arc_a.add(gdstk.Reference(ring_a2c196e3_transform_, (0,0)))
grating_concentric_arc_a.add(gdstk.Reference(ring_7f9bad82_transform_, (0,0)))
grating_concentric_arc_a.add(gdstk.Reference(ring_9a1d5f5d_transform_, (0,0)))
grating_concentric_arc_a.add(gdstk.Reference(ring_20381260_transform_, (0,0)))
grating_concentric_arc_a.add(gdstk.Reference(ring_e5f71da3_transform_, (0,0)))
grating_concentric_arc_a.add(gdstk.Reference(ring_7ab5a306_transform_, (0,0)))
grating_concentric_arc_a.add(gdstk.Reference(ring_32f324b6_transform_, (0,0)))
grating_concentric_arc_a.add(gdstk.Reference(ring_6ba9067e_transform_, (0,0)))
grating_concentric_arc_a.add(gdstk.Reference(ring_b8407e1b_transform_, (0,0)))

lib.write_gds('grating_concentric_arc_aafb3fe6.gds')
